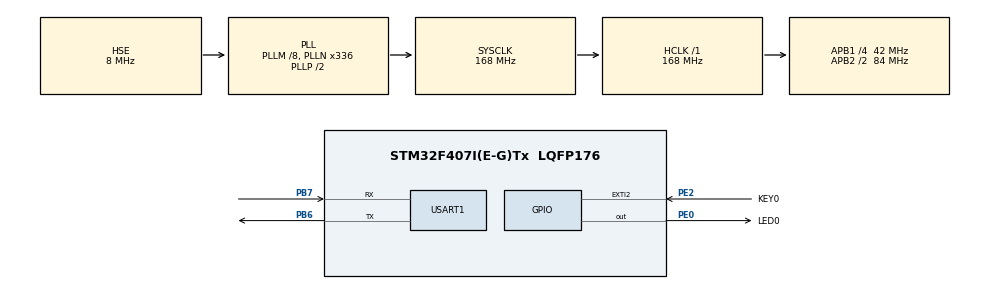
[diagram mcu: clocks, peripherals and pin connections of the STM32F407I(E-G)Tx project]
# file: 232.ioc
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Mcu.Family=STM32F4
Mcu.Name=STM32F407I(E-G)Tx
Mcu.Package=LQFP176
NVIC.EXTI2_IRQn=true\:1\:0\:true\:false\:true\:true
NVIC.PriorityGroup=NVIC_PRIORITYGROUP_4
PA13.Mode=Serial_Wire
PA13.Signal=SYS_JTMS-SWDIO
PA14.Mode=Serial_Wire
PA14.Signal=SYS_JTCK-SWCLK
PB6.Mode=Asynchronous
PB6.Signal=USART1_TX
PB7.Mode=Asynchronous
PB7.Signal=USART1_RX
PE0.GPIO_Label=LED0
PE0.GPIO_Speed=GPIO_SPEED_FREQ_VERY_HIGH
PE0.PinState=GPIO_PIN_SET
PE0.Signal=GPIO_Output
PE2.GPIO_Label=KEY0
PE2.GPIO_ModeDefaultEXTI=GPIO_MODE_IT_FALLING
PE2.GPIO_PuPd=GPIO_PULLUP
PE2.Signal=GPXTI2
PH0-OSC_IN.Mode=HSE-External-Oscillator
PH0-OSC_IN.Signal=RCC_OSC_IN
PH1-OSC_OUT.Mode=HSE-External-Oscillator
PH1-OSC_OUT.Signal=RCC_OSC_OUT
ProjectManager.HeapSize=0x200
ProjectManager.StackSize=0x400
ProjectManager.TargetToolchain=MDK-ARM V5
RCC.48MHZClocksFreq_Value=84000000
RCC.AHBFreq_Value=168000000
RCC.APB1CLKDivider=RCC_HCLK_DIV4
RCC.APB1Freq_Value=42000000
RCC.APB1TimFreq_Value=84000000
RCC.APB2CLKDivider=RCC_HCLK_DIV2
RCC.APB2Freq_Value=84000000
RCC.APB2TimFreq_Value=168000000
RCC.CortexFreq_Value=168000000
RCC.HCLKFreq_Value=168000000
RCC.HSE_VALUE=8000000
RCC.HSI_VALUE=16000000
RCC.LSE_VALUE=32768
RCC.PLLM=8
RCC.PLLN=336
RCC.PLLSourceVirtual=RCC_PLLSOURCE_HSE
RCC.SYSCLKFreq_VALUE=168000000
RCC.SYSCLKSource=RCC_SYSCLKSOURCE_PLLCLK
RCC.VCOOutputFreq_Value=336000000
USART1.VirtualMode=VM_ASYNC
board=232

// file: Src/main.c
/**
  ******************************************************************************
  * @file           : main.c
  * @brief          : Main program body
  ******************************************************************************
  ** This notice applies to any and all portions of this file
  * that are not between comment pairs USER CODE BEGIN and
  * USER CODE END. Other portions of this file, whether
  * inserted by the user or by software development tools
  * are owned by their respective copyright owners.
  *
  * COPYRIGHT(c) 2024 STMicroelectronics
  *
  * Redistribution and use in source and binary forms, with or without modification,
  * are permitted provided that the following conditions are met:
  *   1. Redistributions of source code must retain the above copyright notice,
  *      this list of conditions and the following disclaimer.
  *   2. Redistributions in binary form must reproduce the above copyright notice,
  *      this list of conditions and the following disclaimer in the documentation
  *      and/or other materials provided with the distribution.
  *   3. Neither the name of STMicroelectronics nor the names of its contributors
  *      may be used to endorse or promote products derived from this software
  *      without specific prior written permission.
  *
  * THIS SOFTWARE IS PROVIDED BY THE COPYRIGHT HOLDERS AND CONTRIBUTORS "AS IS"
  * AND ANY EXPRESS OR IMPLIED WARRANTIES, INCLUDING, BUT NOT LIMITED TO, THE
  * IMPLIED WARRANTIES OF MERCHANTABILITY AND FITNESS FOR A PARTICULAR PURPOSE ARE
  * DISCLAIMED. IN NO EVENT SHALL THE COPYRIGHT HOLDER OR CONTRIBUTORS BE LIABLE
  * FOR ANY DIRECT, INDIRECT, INCIDENTAL, SPECIAL, EXEMPLARY, OR CONSEQUENTIAL
  * DAMAGES (INCLUDING, BUT NOT LIMITED TO, PROCUREMENT OF SUBSTITUTE GOODS OR
  * SERVICES; LOSS OF USE, DATA, OR PROFITS; OR BUSINESS INTERRUPTION) HOWEVER
  * CAUSED AND ON ANY THEORY OF LIABILITY, WHETHER IN CONTRACT, STRICT LIABILITY,
  * OR TORT (INCLUDING NEGLIGENCE OR OTHERWISE) ARISING IN ANY WAY OUT OF THE USE
  * OF THIS SOFTWARE, EVEN IF ADVISED OF THE POSSIBILITY OF SUCH DAMAGE.
  *
  ******************************************************************************
  */
#include "main.h"
#include "stm32f4xx_hal.h"

/* USER CODE BEGIN Includes */
#include "rs232.h"
/* USER CODE END Includes */

UART_HandleTypeDef huart1;

/* USER CODE BEGIN PV */
/* Private variables ---------------------------------------------------------*/
extern UART_HandleTypeDef g_rs232_handler;  //uart5句柄
uint8_t tx232buf[5];  //发送缓冲区
uint8_t rx232buf[5];  //接收缓冲区
uint8_t rx_num;  //接收大小
/* USER CODE END PV */

void SystemClock_Config(void);
static void MX_GPIO_Init(void);
static void MX_USART1_UART_Init(void);

/* USER CODE BEGIN PFP */
/* Private function prototypes -----------------------------------------------*/

/* USER CODE END PFP */

/* USER CODE BEGIN 0 */
int fputc(int ch, FILE *p)
{
    while(!(USART1->SR & (1<<7)));
    USART1->DR = ch;
    return ch;
}
/* USER CODE END 0 */

int main(void)
{

  /* MCU Configuration----------------------------------------------------------*/

  /* Reset of all peripherals, Initializes the Flash interface and the Systick. */
  HAL_Init();

  /* Configure the system clock */
  SystemClock_Config();

  /* Initialize all configured peripherals */
  MX_GPIO_Init();
  MX_USART1_UART_Init();
  /* USER CODE BEGIN 2 */
	rs232_init(9600);

	uint8_t i;
	for (i = 0; i < 5; i++) {
		tx232buf[i] = i; /* 填充发送缓冲区 */ /* 显示数据 */
		rx232buf[i] = 0;
	}
	//rs485_send_data(rs485buf, 5); /* 发送5个字节 */
	printf("uart1: uart1 is ok!\n");

  /* USER CODE END 2 */

  /* Infinite loop */
  /* USER CODE BEGIN WHILE */
  while (1)
  {
		rs232_receive_data(rx232buf, &rx_num);
		if(rx_num){  //接收到
			printf("uart1: rx_num = %d\n", rx_num);
			printf("uart1: uart3 received: \n");
			for (i = 0; i < rx_num; i++) {
				printf("%c", rx232buf[i]);
			}printf("\n");
		}

		HAL_Delay(1000);

  /* USER CODE END WHILE */

  }

}

void SystemClock_Config(void)
{

  RCC_OscInitTypeDef RCC_OscInitStruct;
  RCC_ClkInitTypeDef RCC_ClkInitStruct;

    /**Configure the main internal regulator output voltage
    */
  __HAL_RCC_PWR_CLK_ENABLE();

  __HAL_PWR_VOLTAGESCALING_CONFIG(PWR_REGULATOR_VOLTAGE_SCALE1);

    /**Initializes the CPU, AHB and APB busses clocks
    */
  RCC_OscInitStruct.OscillatorType = RCC_OSCILLATORTYPE_HSE;
  RCC_OscInitStruct.HSEState = RCC_HSE_ON;
  RCC_OscInitStruct.PLL.PLLState = RCC_PLL_ON;
  RCC_OscInitStruct.PLL.PLLSource = RCC_PLLSOURCE_HSE;
  RCC_OscInitStruct.PLL.PLLM = 8;
  RCC_OscInitStruct.PLL.PLLN = 336;
  RCC_OscInitStruct.PLL.PLLP = RCC_PLLP_DIV2;
  RCC_OscInitStruct.PLL.PLLQ = 4;
  if (HAL_RCC_OscConfig(&RCC_OscInitStruct) != HAL_OK)
  {
    _Error_Handler(__FILE__, __LINE__);
  }

    /**Initializes the CPU, AHB and APB busses clocks
    */
  RCC_ClkInitStruct.ClockType = RCC_CLOCKTYPE_HCLK|RCC_CLOCKTYPE_SYSCLK
                              |RCC_CLOCKTYPE_PCLK1|RCC_CLOCKTYPE_PCLK2;
  RCC_ClkInitStruct.SYSCLKSource = RCC_SYSCLKSOURCE_PLLCLK;
  RCC_ClkInitStruct.AHBCLKDivider = RCC_SYSCLK_DIV1;
  RCC_ClkInitStruct.APB1CLKDivider = RCC_HCLK_DIV4;
  RCC_ClkInitStruct.APB2CLKDivider = RCC_HCLK_DIV2;

  if (HAL_RCC_ClockConfig(&RCC_ClkInitStruct, FLASH_LATENCY_5) != HAL_OK)
  {
    _Error_Handler(__FILE__, __LINE__);
  }

    /**Configure the Systick interrupt time
    */
  HAL_SYSTICK_Config(HAL_RCC_GetHCLKFreq()/1000);

    /**Configure the Systick
    */
  HAL_SYSTICK_CLKSourceConfig(SYSTICK_CLKSOURCE_HCLK);

  /* SysTick_IRQn interrupt configuration */
  HAL_NVIC_SetPriority(SysTick_IRQn, 0, 0);
}

/* USART1 init function */
static void MX_USART1_UART_Init(void)
{

  huart1.Instance = USART1;
  huart1.Init.BaudRate = 115200;
  huart1.Init.WordLength = UART_WORDLENGTH_8B;
  huart1.Init.StopBits = UART_STOPBITS_1;
  huart1.Init.Parity = UART_PARITY_NONE;
  huart1.Init.Mode = UART_MODE_TX_RX;
  huart1.Init.HwFlowCtl = UART_HWCONTROL_NONE;
  huart1.Init.OverSampling = UART_OVERSAMPLING_16;
  if (HAL_UART_Init(&huart1) != HAL_OK)
  {
    _Error_Handler(__FILE__, __LINE__);
  }

}

/** Configure pins as
        * Analog
        * Input
        * Output
        * EVENT_OUT
        * EXTI
*/
static void MX_GPIO_Init(void)
{

  GPIO_InitTypeDef GPIO_InitStruct;

  /* GPIO Ports Clock Enable */
  __HAL_RCC_GPIOE_CLK_ENABLE();
  __HAL_RCC_GPIOH_CLK_ENABLE();
  __HAL_RCC_GPIOA_CLK_ENABLE();
  __HAL_RCC_GPIOB_CLK_ENABLE();

  /*Configure GPIO pin Output Level */
  HAL_GPIO_WritePin(LED0_GPIO_Port, LED0_Pin, GPIO_PIN_SET);

  /*Configure GPIO pin : KEY0_Pin */
  GPIO_InitStruct.Pin = KEY0_Pin;
  GPIO_InitStruct.Mode = GPIO_MODE_IT_FALLING;
  GPIO_InitStruct.Pull = GPIO_PULLUP;
  HAL_GPIO_Init(KEY0_GPIO_Port, &GPIO_InitStruct);

  /*Configure GPIO pin : LED0_Pin */
  GPIO_InitStruct.Pin = LED0_Pin;
  GPIO_InitStruct.Mode = GPIO_MODE_OUTPUT_PP;
  GPIO_InitStruct.Pull = GPIO_NOPULL;
  GPIO_InitStruct.Speed = GPIO_SPEED_FREQ_VERY_HIGH;
  HAL_GPIO_Init(LED0_GPIO_Port, &GPIO_InitStruct);

  /* EXTI interrupt init*/
  HAL_NVIC_SetPriority(EXTI2_IRQn, 1, 0);
  HAL_NVIC_EnableIRQ(EXTI2_IRQn);

}

/* USER CODE BEGIN 4 */
void HAL_GPIO_EXTI_Callback(uint16_t GPIO_Pin)  //按键中断处理函数
{
    if(GPIO_Pin == KEY0_Pin)
    {
      //KEY0是否按下
			if(GPIO_PIN_RESET == HAL_GPIO_ReadPin(KEY0_GPIO_Port, KEY0_Pin)){
				HAL_Delay(20);  //去抖动
				if(GPIO_PIN_RESET == HAL_GPIO_ReadPin(KEY0_GPIO_Port, KEY0_Pin)){
					rs232_send_data(tx232buf, 5); /* 发送5个字节 */
					//Rs485_send_data(tx485buf, 5); /* 发送5个字节 */
					printf("uart1: uart3 send ok\n");
				}
			}
    }
}
/* USER CODE END 4 */

void _Error_Handler(char *file, int line)
{
  while(1)
  {
  }
}

/************************ (C) COPYRIGHT STMicroelectronics *****END OF FILE****/
